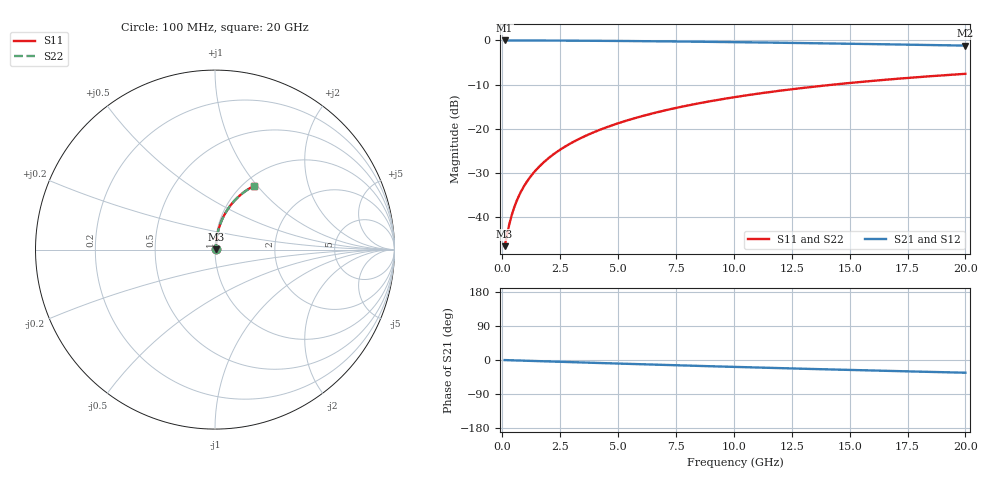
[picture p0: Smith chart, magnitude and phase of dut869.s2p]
! Touchstone file exported from HFSS 2024.1.0
!  File:  C:/UserFiles/LocalFiles/RDL_TSV_Batchsim/temp_RDL_bottom_869_1779864965.aedt
!  Generated:  02:58:55 PM May 27, 2026
!  Design:  RDL_bottom
!  Project:  temp_RDL_bottom_869_1779864965
!  Setup:  Setup1
!  Solution:  Sweep
! Variables:
!  dtsv = 10.80580581um
!  hbump = 3um
!  htsv = 87.12um
!  ldown = 374.52um
!  lrdl = 100um
!  p = 40
!  p1 = 54.39um
!  rhole = 1um
!  t = 450um
!  tdown = 2.84um
!  trdl = 3.915915916um
!  wdown = 11.88um
!  wrdl = 20um
# GHz S MA R 50.000000
! Terminal data exported
! Port[1] = RDL1_T1
! Port[2] = RDL1_T2
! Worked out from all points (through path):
!   200 points, 100 MHz to 20 GHz, reference 50 ohm
!   highest |S21| = -0.04 dB at 100 MHz (marker M1); lowest = -1.2 dB at 20 GHz (marker M2)
!   group delay of S21, straight-line fit = 4.67 ps
!   lowest |S11| = -46.5 dB at 100 MHz (marker M3), VSWR 1.01, Z = 50.4 + j0.24 ohm
!   |S11| at or under -10 dB: start of sweep to 14.33 GHz
!   |S22| runs from -46.5 to -7.6 dB; largest |S21 - S12| = 3.6e-15
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0.1  0.004711 30.4  0.9959 -0.2  0.9959 -0.2  0.004711 30.4
! Gamma 0 0 0 0
! Port Impedance 50 0 50 0
0.3  0.008263 59.5  0.9958 -0.6  0.9958 -0.6  0.008263 59.5
0.4  0.01039 65.6  0.9957 -0.8  0.9957 -0.8  0.01039 65.6
0.5  0.01259 69.6  0.9956 -1.0  0.9956 -1.0  0.01259 69.6
0.6  0.01483 72.2  0.9955 -1.2  0.9955 -1.2  0.01483 72.2
0.8  0.01933 75.6  0.9953 -1.5  0.9953 -1.5  0.01933 75.6
1.1  0.02611 78.4  0.9949 -2.1  0.9949 -2.1  0.02611 78.4
1.5  0.0352 80.2  0.9942 -2.9  0.9942 -2.9  0.0352 80.2
1.8  0.04204 80.9  0.9937 -3.4  0.9937 -3.4  0.04204 80.9
2.1  0.04889 81.3  0.9931 -4.0  0.9931 -4.0  0.04889 81.3
2.7  0.06263 81.6  0.9916 -5.1  0.9916 -5.1  0.06263 81.6
3.5  0.08097 81.3  0.9892 -6.6  0.9892 -6.6  0.08097 81.3
4.2  0.09703 80.8  0.9867 -7.9  0.9867 -7.9  0.09702 80.8
5  0.1153 80.0  0.9833 -9.4  0.9833 -9.4  0.1153 80.0
5.9  0.1359 78.9  0.979 -11.0  0.979 -11.0  0.1359 78.9
6.8  0.1563 77.7  0.9741 -12.6  0.9741 -12.6  0.1563 77.7
8.3  0.1899 75.6  0.9651 -15.3  0.9651 -15.3  0.1899 75.6
10.1  0.2292 72.9  0.9528 -18.4  0.9528 -18.4  0.2292 72.9
11.7  0.2632 70.5  0.941 -21.0  0.941 -21.0  0.2631 70.5
13.4  0.2979 67.9  0.9276 -23.7  0.9276 -23.7  0.2979 67.9
16.7  0.361 63.0  0.9 -28.8  0.9 -28.8  0.3609 63.0
20  0.4179 58.4  0.871 -33.6  0.871 -33.6  0.4178 58.4
